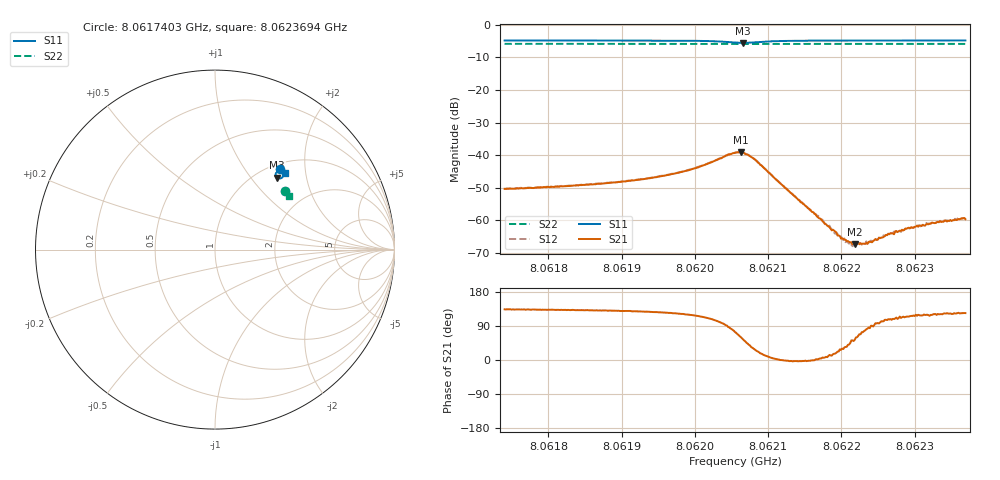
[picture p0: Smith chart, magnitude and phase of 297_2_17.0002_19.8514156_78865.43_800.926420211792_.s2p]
#  HZ  S  RI  R  50.00
! Rohde & Schwarz Vector Network Analyzer
! Rohde-Schwarz,ZNB20-2Port,1311601062101988,3.16
! Created: UTC 3/20/2024, 11:05:21 PM
! freq[Hz]  re:S11  im:S11  re:S21  im:S21  re:S12  im:S12  re:S22  im:S22
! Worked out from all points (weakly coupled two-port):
!   401 points, 8.0617403 GHz to 8.0623694 GHz, reference 50 ohm
!   highest |S21| = -39.11 dB at 8.0620627 GHz (marker M1); lowest = -67.4 dB at 8.0622184 GHz (marker M2)
!   lowest |S11| = -5.5 dB at 8.0620659 GHz (marker M3), VSWR 3.25, Z = 61.1 + j68 ohm
!   |S11| at or under -10 dB: nowhere
!   |S22| runs from -5.9 to -5.8 dB; largest |S21 - S12| = 0.00077
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8.06174034e9  0.3607 0.449  -0.00211 0.0022  -0.00199 0.00235  0.3921 0.3276
8.0618457e9  0.368 0.4427  -0.00231 0.0026  -0.00219 0.00277  0.3962 0.3225
8.06189602e9  0.3719 0.4389  -0.0025 0.00298  -0.00228 0.00315  0.3982 0.3199
8.06195106e9  0.3766 0.433  -0.00275 0.00381  -0.00252 0.00402  0.4001 0.3172
8.06199824e9  0.3807 0.4234  -0.0029 0.00548  -0.00258 0.00568  0.402 0.3143
8.06205485e9  0.3604 0.3958  0.00302 0.0105  0.00354 0.0103  0.4025 0.3106
8.06206271e9  0.3494 0.3981  0.00545 0.00965  0.00606 0.0093  0.4023 0.3106
8.06206586e9  0.3454 0.4009  0.00634 0.00896  0.00688 0.00849  0.4024 0.3107
8.06207372e9  0.3388 0.4105  0.00756 0.00639  0.00811 0.00595  0.4024 0.3108
8.06208473e9  0.3387 0.4244  0.00736 0.00321  0.00769 0.00281  0.403 0.311
8.06216021e9  0.3679 0.4384  0.00134 -2.37e-05  0.00137 -0.000124  0.4071 0.3077
8.06217122e9  0.3697 0.4377  0.00106 7.57e-05  0.00107 3.35e-06  0.4076 0.307
8.06218852e9  0.3724 0.4366  0.000692 0.000187  0.000684 0.000134  0.4083 0.3061
8.06219795e9  0.3738 0.436  0.000506 0.000272  0.00054 0.000213  0.4085 0.3056
8.06221368e9  0.3757 0.4349  0.000285 0.000362  0.000291 0.000302  0.4092 0.3049
8.0622184e9  0.3761 0.4346  0.000254 0.000344  0.000304 0.000356  0.4094 0.3046
8.06223884e9  0.3783 0.4333  4.95e-05 0.000469  4.28e-05 0.000462  0.4102 0.3036
8.06226558e9  0.3807 0.4318  -0.000179 0.000586  -0.000149 0.0006  0.4112 0.302
8.06229074e9  0.3826 0.4301  -0.000316 0.000696  -0.000311 0.000674  0.4122 0.3007
8.0623159e9  0.3846 0.4288  -0.000428 0.000764  -0.000409 0.000815  0.4129 0.2995
8.0623332e9  0.3857 0.4278  -0.000478 0.000807  -0.000431 0.000826  0.4136 0.2986
8.06236936e9  0.3882 0.4257  -0.000581 0.000868  -0.000566 0.000892  0.4149 0.2967
